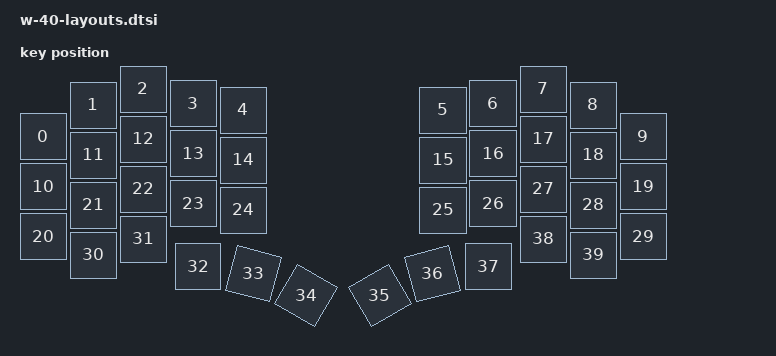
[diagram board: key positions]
#include <physical_layouts.dtsi>

/ {
    default_layout: default_layout {
        compatible = "zmk,physical-layout";
        display-name = "Default";
        transform = <&default_transform>;

        keys  //                     w   h    x    y     rot    rx    ry
            = <&key_physical_attrs 100 100    0   95       0     0     0>
            , <&key_physical_attrs 100 100  100   32       0     0     0>
            , <&key_physical_attrs 100 100  200    0       0     0     0>
            , <&key_physical_attrs 100 100  300   29       0     0     0>
            , <&key_physical_attrs 100 100  400   42       0     0     0>
            , <&key_physical_attrs 100 100  800   42       0     0     0>
            , <&key_physical_attrs 100 100  900   29       0     0     0>
            , <&key_physical_attrs 100 100 1000    0       0     0     0>
            , <&key_physical_attrs 100 100 1100   32       0     0     0>
            , <&key_physical_attrs 100 100 1200   95       0     0     0>
            , <&key_physical_attrs 100 100    0  195       0     0     0>
            , <&key_physical_attrs 100 100  100  132       0     0     0>
            , <&key_physical_attrs 100 100  200  100       0     0     0>
            , <&key_physical_attrs 100 100  300  129       0     0     0>
            , <&key_physical_attrs 100 100  400  142       0     0     0>
            , <&key_physical_attrs 100 100  800  142       0     0     0>
            , <&key_physical_attrs 100 100  900  129       0     0     0>
            , <&key_physical_attrs 100 100 1000  100       0     0     0>
            , <&key_physical_attrs 100 100 1100  132       0     0     0>
            , <&key_physical_attrs 100 100 1200  195       0     0     0>
            , <&key_physical_attrs 100 100    0  295       0     0     0>
            , <&key_physical_attrs 100 100  100  232       0     0     0>
            , <&key_physical_attrs 100 100  200  200       0     0     0>
            , <&key_physical_attrs 100 100  300  229       0     0     0>
            , <&key_physical_attrs 100 100  400  242       0     0     0>
            , <&key_physical_attrs 100 100  800  242       0     0     0>
            , <&key_physical_attrs 100 100  900  229       0     0     0>
            , <&key_physical_attrs 100 100 1000  200       0     0     0>
            , <&key_physical_attrs 100 100 1100  232       0     0     0>
            , <&key_physical_attrs 100 100 1200  295       0     0     0>
            , <&key_physical_attrs 100 100  100  332       0     0     0>
            , <&key_physical_attrs 100 100  200  300       0     0     0>
            , <&key_physical_attrs 100 100  310  355       0     0     0>
            , <&key_physical_attrs 100 100  410  355    1500   410   455>
            , <&key_physical_attrs 100 100  510  355    3000   460   465>
            , <&key_physical_attrs 100 100  690  355 (-3000)   840   465>
            , <&key_physical_attrs 100 100  790  355 (-1500)   890   455>
            , <&key_physical_attrs 100 100  890  355       0     0     0>
            , <&key_physical_attrs 100 100 1000  300       0     0     0>
            , <&key_physical_attrs 100 100 1100  332       0     0     0>
            ;
    };

    position_map {
        compatible = "zmk,physical-layout-position-map";

        complete;

        default_posmap {
            physical-layout = <&physical_layout0>;
            positions
                = < 0  1  2  3  4  5  6  7  8  9>
                , <10 11 12 13 14 15 16 17 18 19>
                , <20 21 22 23 24 25 26 27 28 29>
                , <30 31 32 33 34 35 36 37 38 39>
                ;
        };
    }
};
